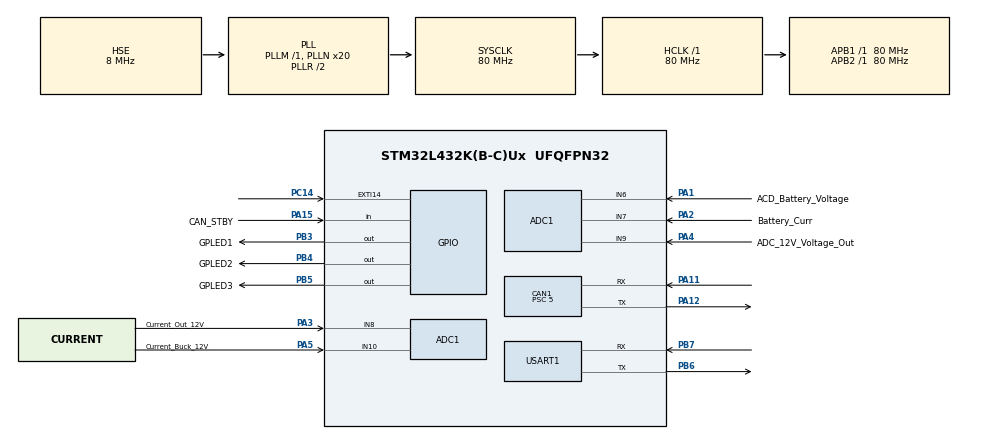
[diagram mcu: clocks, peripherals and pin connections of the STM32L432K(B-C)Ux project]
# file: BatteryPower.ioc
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ADC1.Channel-0\#ChannelRegularConversion=ADC_CHANNEL_6
ADC1.Channel-1\#ChannelRegularConversion=ADC_CHANNEL_7
ADC1.Channel-2\#ChannelRegularConversion=ADC_CHANNEL_8
ADC1.Channel-3\#ChannelRegularConversion=ADC_CHANNEL_9
ADC1.Channel-4\#ChannelRegularConversion=ADC_CHANNEL_10
ADC1.ContinuousConvMode=DISABLE
ADC1.NbrOfConversion=5
ADC1.NbrOfConversionFlag=1
ADC1.OffsetNumber-0\#ChannelRegularConversion=ADC_OFFSET_NONE
ADC1.OffsetNumber-1\#ChannelRegularConversion=ADC_OFFSET_NONE
ADC1.OffsetNumber-2\#ChannelRegularConversion=ADC_OFFSET_NONE
ADC1.OffsetNumber-3\#ChannelRegularConversion=ADC_OFFSET_NONE
ADC1.OffsetNumber-4\#ChannelRegularConversion=ADC_OFFSET_NONE
ADC1.Rank-0\#ChannelRegularConversion=1
ADC1.Rank-1\#ChannelRegularConversion=2
ADC1.Rank-2\#ChannelRegularConversion=3
ADC1.Rank-3\#ChannelRegularConversion=4
ADC1.Rank-4\#ChannelRegularConversion=5
ADC1.SamplingTime-0\#ChannelRegularConversion=ADC_SAMPLETIME_2CYCLES_5
ADC1.SamplingTime-1\#ChannelRegularConversion=ADC_SAMPLETIME_2CYCLES_5
ADC1.SamplingTime-2\#ChannelRegularConversion=ADC_SAMPLETIME_2CYCLES_5
ADC1.SamplingTime-3\#ChannelRegularConversion=ADC_SAMPLETIME_2CYCLES_5
ADC1.SamplingTime-4\#ChannelRegularConversion=ADC_SAMPLETIME_2CYCLES_5
ADC1.master=1
CAN1.BS1=CAN_BS1_11TQ
CAN1.BS2=CAN_BS2_4TQ
CAN1.CalculateBaudRate=1000000
CAN1.CalculateTimeBit=1000
CAN1.CalculateTimeQuantum=62.5
CAN1.Prescaler=5
Dma.ADC1.0.Direction=DMA_PERIPH_TO_MEMORY
Dma.ADC1.0.Instance=DMA1_Channel1
Dma.ADC1.0.MemDataAlignment=DMA_MDATAALIGN_HALFWORD
Dma.ADC1.0.MemInc=DMA_MINC_ENABLE
Dma.ADC1.0.Mode=DMA_CIRCULAR
Dma.ADC1.0.PeriphDataAlignment=DMA_PDATAALIGN_HALFWORD
Dma.ADC1.0.PeriphInc=DMA_PINC_DISABLE
Dma.ADC1.0.Priority=DMA_PRIORITY_LOW
Dma.Request0=ADC1
FREERTOS.Queues01=canRxQueue,128,uint32_t,0,Static,canRxQueueBuffer,canRxQueueControlBlock
FREERTOS.Tasks01=pull_sensor,24,128,AdcTask,Default,NULL,Static,pull_sensorBuffer,pull_sensorControlBlock;can_manger,25,128,CanTask,Default,NULL,Static,can_mangerBuffer,can_mangerControlBlock
FREERTOS.configENABLE_FPU=1
FREERTOS.configUSE_NEWLIB_REENTRANT=1
Mcu.Family=STM32L4
Mcu.Name=STM32L432K(B-C)Ux
Mcu.Package=UFQFPN32
NVIC.CAN1_RX0_IRQn=true\:5\:0\:false\:false\:true\:true\:true\:true\:true
NVIC.CAN1_RX1_IRQn=true\:5\:0\:false\:false\:true\:true\:true\:true\:true
NVIC.CAN1_TX_IRQn=true\:5\:0\:false\:false\:true\:true\:true\:true\:true
NVIC.DMA1_Channel1_IRQn=true\:5\:0\:false\:false\:true\:true\:false\:true\:true
NVIC.EXTI15_10_IRQn=true\:5\:0\:false\:false\:true\:true\:true\:true\:true
NVIC.PriorityGroup=NVIC_PRIORITYGROUP_4
NVIC.TIM1_UP_TIM16_IRQn=true\:15\:0\:false\:false\:true\:false\:false\:true\:true
NVIC.TimeBase=TIM1_UP_TIM16_IRQn
NVIC.TimeBaseIP=TIM1
PA0.Mode=HSE-External-Clock-Source-for-LittleOrca
PA0.Signal=RCC_CK_IN
PA1.GPIO_Label=ACD_Battery_Voltage
PA1.Signal=ADCx_IN6
PA11.GPIO_PuPd=GPIO_PULLUP
PA11.Mode=CAN_Activate
PA11.Signal=CAN1_RX
PA12.Mode=CAN_Activate
PA12.Signal=CAN1_TX
PA13\ (JTMS-SWDIO).Mode=Serial_Wire
PA13\ (JTMS-SWDIO).Signal=SYS_JTMS-SWDIO
PA14\ (JTCK-SWCLK).Mode=Serial_Wire
PA14\ (JTCK-SWCLK).Signal=SYS_JTCK-SWCLK
PA15\ (JTDI).GPIO_Label=CAN_STBY
PA15\ (JTDI).GPIO_PuPd=GPIO_PULLDOWN
PA15\ (JTDI).Signal=GPIO_Input
PA2.GPIO_Label=Battery_Curr
PA2.Signal=ADCx_IN7
PA3.GPIO_Label=Current_Out_12V
PA3.Signal=ADCx_IN8
PA4.GPIO_Label=ADC_12V_Voltage_Out
PA4.Signal=ADCx_IN9
PA5.GPIO_Label=Current_Buck_12V
PA5.Signal=ADCx_IN10
PB3\ (JTDO-TRACESWO).GPIO_Label=GPLED1
PB3\ (JTDO-TRACESWO).Signal=GPIO_Output
PB4\ (NJTRST).GPIO_Label=GPLED2
PB4\ (NJTRST).Signal=GPIO_Output
PB5.GPIO_Label=GPLED3
PB5.Signal=GPIO_Output
PB6.Mode=Asynchronous
PB6.Signal=USART1_TX
PB7.Mode=Asynchronous
PB7.Signal=USART1_RX
PC14-OSC32_IN\ (PC14).Signal=GPXTI14
ProjectManager.HeapSize=0x200
ProjectManager.StackSize=0x400
ProjectManager.TargetToolchain=STM32CubeIDE
RCC.ADCFreq_Value=32000000
RCC.AHBFreq_Value=80000000
RCC.APB1Freq_Value=80000000
RCC.APB1TimFreq_Value=80000000
RCC.APB2Freq_Value=80000000
RCC.APB2TimFreq_Value=80000000
RCC.CortexFreq_Value=80000000
RCC.HCLKFreq_Value=80000000
RCC.HSE_VALUE=8000000
RCC.HSI48_VALUE=48000000
RCC.HSI_VALUE=16000000
RCC.LSE_VALUE=32768
RCC.MSI_VALUE=4000000
RCC.PLLN=20
RCC.PLLSourceVirtual=RCC_PLLSOURCE_HSE
RCC.SYSCLKFreq_VALUE=80000000
RCC.SYSCLKSource=RCC_SYSCLKSOURCE_PLLCLK
RCC.USBFreq_Value=32000000
RCC.VCOOutputFreq_Value=160000000
SH.ADCx_IN10.0=ADC1_IN10,IN10-Single-Ended
SH.ADCx_IN6.0=ADC1_IN6,IN6-Single-Ended
SH.ADCx_IN7.0=ADC1_IN7,IN7-Single-Ended
SH.ADCx_IN8.0=ADC1_IN8,IN8-Single-Ended
SH.ADCx_IN9.0=ADC1_IN9,IN9-Single-Ended
USART1.VirtualMode-Asynchronous=VM_ASYNC
VP_FREERTOS_VS_CMSIS_V2.Mode=CMSIS_V2
VP_SYS_VS_tim1.Mode=TIM1
board=custom

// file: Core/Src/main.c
/* USER CODE BEGIN Header */
/**
 ******************************************************************************
 * @file           : main.c
 * @brief          : Main program body
 ******************************************************************************
 * @attention
 *
 * Copyright (c) 2024 STMicroelectronics.
 * All rights reserved.
 *
 * This software is licensed under terms that can be found in the LICENSE file
 * in the root directory of this software component.
 * If no LICENSE file comes with this software, it is provided AS-IS.
 *
 ******************************************************************************
 */

/* USER CODE END Header */
#include "main.h"
#include "cmsis_os.h"

/* USER CODE BEGIN Includes */
#include <string.h>
#include <stdlib.h>
/* USER CODE END Includes */

typedef StaticTask_t osStaticThreadDef_t;
typedef StaticQueue_t osStaticMessageQDef_t;
/* USER CODE BEGIN PTD */

typedef struct {
  uint32_t batt_volt;
  uint32_t batt_cur;
  uint32_t output_volt; // 12 volt output voltage
  uint32_t output_cur;  // 12 volt output current
  uint32_t buck_cur;    // 5 volt buck current
} bbData_t;

/* USER CODE END PTD */

/* USER CODE BEGIN PD */
#define CAN_TX_MAILBOX_NONE 0x00000000UL
/* USER CODE END PD */

ADC_HandleTypeDef hadc1;
DMA_HandleTypeDef hdma_adc1;

CAN_HandleTypeDef hcan1;

UART_HandleTypeDef huart1;

/* Definitions for pull_sensor */
osThreadId_t pull_sensorHandle;
uint32_t pull_sensorBuffer[ 128 ];
osStaticThreadDef_t pull_sensorControlBlock;
const osThreadAttr_t pull_sensor_attributes = {
  .name = "pull_sensor",
  .cb_mem = &pull_sensorControlBlock,
  .cb_size = sizeof(pull_sensorControlBlock),
  .stack_mem = &pull_sensorBuffer[0],
  .stack_size = sizeof(pull_sensorBuffer),
  .priority = (osPriority_t) osPriorityNormal,
};
/* Definitions for can_manger */
osThreadId_t can_mangerHandle;
uint32_t can_mangerBuffer[ 128 ];
osStaticThreadDef_t can_mangerControlBlock;
const osThreadAttr_t can_manger_attributes = {
  .name = "can_manger",
  .cb_mem = &can_mangerControlBlock,
  .cb_size = sizeof(can_mangerControlBlock),
  .stack_mem = &can_mangerBuffer[0],
  .stack_size = sizeof(can_mangerBuffer),
  .priority = (osPriority_t) osPriorityNormal1,
};
/* Definitions for canRxQueue */
osMessageQueueId_t canRxQueueHandle;
uint8_t canRxQueueBuffer[ 128 * sizeof( uint32_t ) ];
osStaticMessageQDef_t canRxQueueControlBlock;
const osMessageQueueAttr_t canRxQueue_attributes = {
  .name = "canRxQueue",
  .cb_mem = &canRxQueueControlBlock,
  .cb_size = sizeof(canRxQueueControlBlock),
  .mq_mem = &canRxQueueBuffer,
  .mq_size = sizeof(canRxQueueBuffer)
};
/* USER CODE BEGIN PV */
bbData_t battery_board_data[10];

volatile uint32_t adcResults[5];

CAN_RxHeaderTypeDef RxHeader;
uint8_t RxData[8];
uint32_t TxMailboxCanTask;
/* USER CODE END PV */

void SystemClock_Config(void);
static void MX_GPIO_Init(void);
static void MX_DMA_Init(void);
static void MX_CAN1_Init(void);
static void MX_USART1_UART_Init(void);
static void MX_ADC1_Init(void);
void AdcTask(void *argument);
void CanTask(void *argument);

/* USER CODE BEGIN PFP */

uint32_t conversion_completed = 0;

void HAL_ADC_ConvCpltCallback(ADC_HandleTypeDef *hadc) {
  if (hadc->Instance == hadc1.Instance) {
    conversion_completed++;
  }
}

// NICK: I edited how my Callbacks work to be a little safer, check it out
void HAL_CAN_RxFifo0MsgPendingCallback(CAN_HandleTypeDef *hcan) {
  HAL_CAN_GetRxMessage(hcan, CAN_RX_FIFO0, &RxHeader, RxData);
  if (osMessageQueueGetSpace(canRxQueueHandle) == 0) {
    Error_Handler();
  }
  osMessageQueuePut(canRxQueueHandle, &RxHeader.StdId, 0U, 0UL);
  // need condition for either 4 byte or 8 byte
  if (RxHeader.DLC == 0UL) {
    // Data request, don't add anything else to queue
  } else if (RxHeader.DLC <= 4UL) {
    osMessageQueuePut(canRxQueueHandle, RxData, 0U, 0UL);
  } else {
    osMessageQueuePut(canRxQueueHandle, RxData, 0U, 0UL);
    osMessageQueuePut(canRxQueueHandle, RxData + 4, 0U, 0UL);
  }
}

/* Transmit Completed Callbacks for Message Sent Confirmations */
void HAL_CAN_TxMailbox0CompleteCallback(CAN_HandleTypeDef *hcan) {
  if (TxMailboxCanTask == CAN_TX_MAILBOX0) {
    //osSemaphoreRelease(canMsgReceivedSemHandle);
    TxMailboxCanTask = CAN_TX_MAILBOX_NONE;
  }
}
void HAL_CAN_TxMailbox1CompleteCallback(CAN_HandleTypeDef *hcan) {
  if (TxMailboxCanTask == CAN_TX_MAILBOX1) {
    //osSemaphoreRelease(canMsgReceivedSemHandle);
    TxMailboxCanTask = CAN_TX_MAILBOX_NONE;
  }
}
void HAL_CAN_TxMailbox2CompleteCallback(CAN_HandleTypeDef *hcan) {
  if (TxMailboxCanTask == CAN_TX_MAILBOX2) {
    //osSemaphoreRelease(canMsgReceivedSemHandle);
    TxMailboxCanTask = CAN_TX_MAILBOX_NONE;
  }
}

HAL_StatusTypeDef HAL_CAN_SafeAddTxMessage(uint8_t *msg, uint32_t msg_id,
                                           uint32_t msg_length,
                                           uint32_t *TxMailbox, uint32_t rtr) {
#define CAN_ADD_TX_TIMEOUT_MS 5000

  uint32_t fc_tick;
  HAL_StatusTypeDef hal_stat;
  CAN_TxHeaderTypeDef TxHeader;

  // These will never change
  TxHeader.IDE = CAN_ID_STD;
  TxHeader.ExtId = 0;
  TxHeader.TransmitGlobalTime = DISABLE;

  // User will give us this information
  TxHeader.RTR = rtr;
  TxHeader.StdId = msg_id;
  TxHeader.DLC = msg_length;

  // Start a timer to check timeout conditions
  fc_tick = HAL_GetTick();

  /* Try to add a Tx message. Returns HAL_ERROR if there are no avail
   * mailboxes or if the peripheral is not initialized. */
  do {
    hal_stat = HAL_CAN_AddTxMessage(&hcan1, &TxHeader, msg, TxMailbox);
  } while (hal_stat != HAL_OK &&
           ((HAL_GetTick() - fc_tick) < CAN_ADD_TX_TIMEOUT_MS));

  return hal_stat;
}

/* USER CODE END PFP */

int main(void)
{

  /* MCU Configuration--------------------------------------------------------*/

  /* Reset of all peripherals, Initializes the Flash interface and the Systick. */
  HAL_Init();

  /* Configure the system clock */
  SystemClock_Config();

  /* Initialize all configured peripherals */
  MX_GPIO_Init();
  MX_DMA_Init();
  MX_CAN1_Init();
  MX_USART1_UART_Init();
  MX_ADC1_Init();

  /* Init scheduler */
  osKernelInitialize();

  /* Create the queue(s) */
  /* creation of canRxQueue */
  canRxQueueHandle = osMessageQueueNew (128, sizeof(uint32_t), &canRxQueue_attributes);

  /* Create the thread(s) */
  /* creation of pull_sensor */
  pull_sensorHandle = osThreadNew(AdcTask, NULL, &pull_sensor_attributes);

  /* creation of can_manger */
  can_mangerHandle = osThreadNew(CanTask, NULL, &can_manger_attributes);

  /* Start scheduler */
  osKernelStart();

  /* We should never get here as control is now taken by the scheduler */
  /* Infinite loop */
  while (1) {

  }
}

void SystemClock_Config(void)
{
  RCC_OscInitTypeDef RCC_OscInitStruct = {0};
  RCC_ClkInitTypeDef RCC_ClkInitStruct = {0};

  /** Configure the main internal regulator output voltage
  */
  if (HAL_PWREx_ControlVoltageScaling(PWR_REGULATOR_VOLTAGE_SCALE1) != HAL_OK)
  {
    Error_Handler();
  }

  /** Initializes the RCC Oscillators according to the specified parameters
  * in the RCC_OscInitTypeDef structure.
  */
  RCC_OscInitStruct.OscillatorType = RCC_OSCILLATORTYPE_HSE;
  RCC_OscInitStruct.HSEState = RCC_HSE_BYPASS;
  RCC_OscInitStruct.PLL.PLLState = RCC_PLL_ON;
  RCC_OscInitStruct.PLL.PLLSource = RCC_PLLSOURCE_HSE;
  RCC_OscInitStruct.PLL.PLLM = 1;
  RCC_OscInitStruct.PLL.PLLN = 20;
  RCC_OscInitStruct.PLL.PLLP = RCC_PLLP_DIV7;
  RCC_OscInitStruct.PLL.PLLQ = RCC_PLLQ_DIV2;
  RCC_OscInitStruct.PLL.PLLR = RCC_PLLR_DIV2;
  if (HAL_RCC_OscConfig(&RCC_OscInitStruct) != HAL_OK)
  {
    Error_Handler();
  }

  /** Initializes the CPU, AHB and APB buses clocks
  */
  RCC_ClkInitStruct.ClockType = RCC_CLOCKTYPE_HCLK|RCC_CLOCKTYPE_SYSCLK
                              |RCC_CLOCKTYPE_PCLK1|RCC_CLOCKTYPE_PCLK2;
  RCC_ClkInitStruct.SYSCLKSource = RCC_SYSCLKSOURCE_PLLCLK;
  RCC_ClkInitStruct.AHBCLKDivider = RCC_SYSCLK_DIV1;
  RCC_ClkInitStruct.APB1CLKDivider = RCC_HCLK_DIV1;
  RCC_ClkInitStruct.APB2CLKDivider = RCC_HCLK_DIV1;

  if (HAL_RCC_ClockConfig(&RCC_ClkInitStruct, FLASH_LATENCY_4) != HAL_OK)
  {
    Error_Handler();
  }
}

static void MX_ADC1_Init(void)
{

  ADC_ChannelConfTypeDef sConfig = {0};

  /** Common config
  */
  hadc1.Instance = ADC1;
  hadc1.Init.ClockPrescaler = ADC_CLOCK_ASYNC_DIV1;
  hadc1.Init.Resolution = ADC_RESOLUTION_12B;
  hadc1.Init.DataAlign = ADC_DATAALIGN_RIGHT;
  hadc1.Init.ScanConvMode = ADC_SCAN_ENABLE;
  hadc1.Init.EOCSelection = ADC_EOC_SINGLE_CONV;
  hadc1.Init.LowPowerAutoWait = DISABLE;
  hadc1.Init.ContinuousConvMode = DISABLE;
  hadc1.Init.NbrOfConversion = 5;
  hadc1.Init.DiscontinuousConvMode = DISABLE;
  hadc1.Init.ExternalTrigConv = ADC_SOFTWARE_START;
  hadc1.Init.ExternalTrigConvEdge = ADC_EXTERNALTRIGCONVEDGE_NONE;
  hadc1.Init.DMAContinuousRequests = DISABLE;
  hadc1.Init.Overrun = ADC_OVR_DATA_PRESERVED;
  hadc1.Init.OversamplingMode = DISABLE;
  if (HAL_ADC_Init(&hadc1) != HAL_OK)
  {
    Error_Handler();
  }

  /** Configure Regular Channel
  */
  sConfig.Channel = ADC_CHANNEL_6;
  sConfig.Rank = ADC_REGULAR_RANK_1;
  sConfig.SamplingTime = ADC_SAMPLETIME_2CYCLES_5;
  sConfig.SingleDiff = ADC_SINGLE_ENDED;
  sConfig.OffsetNumber = ADC_OFFSET_NONE;
  sConfig.Offset = 0;
  if (HAL_ADC_ConfigChannel(&hadc1, &sConfig) != HAL_OK)
  {
    Error_Handler();
  }

  /** Configure Regular Channel
  */
  sConfig.Channel = ADC_CHANNEL_7;
  sConfig.Rank = ADC_REGULAR_RANK_2;
  if (HAL_ADC_ConfigChannel(&hadc1, &sConfig) != HAL_OK)
  {
    Error_Handler();
  }

  /** Configure Regular Channel
  */
  sConfig.Channel = ADC_CHANNEL_8;
  sConfig.Rank = ADC_REGULAR_RANK_3;
  if (HAL_ADC_ConfigChannel(&hadc1, &sConfig) != HAL_OK)
  {
    Error_Handler();
  }

  /** Configure Regular Channel
  */
  sConfig.Channel = ADC_CHANNEL_9;
  sConfig.Rank = ADC_REGULAR_RANK_4;
  if (HAL_ADC_ConfigChannel(&hadc1, &sConfig) != HAL_OK)
  {
    Error_Handler();
  }

  /** Configure Regular Channel
  */
  sConfig.Channel = ADC_CHANNEL_10;
  sConfig.Rank = ADC_REGULAR_RANK_5;
  if (HAL_ADC_ConfigChannel(&hadc1, &sConfig) != HAL_OK)
  {
    Error_Handler();
  }

}

static void MX_CAN1_Init(void)
{

  hcan1.Instance = CAN1;
  hcan1.Init.Prescaler = 5;
  hcan1.Init.Mode = CAN_MODE_NORMAL;
  hcan1.Init.SyncJumpWidth = CAN_SJW_1TQ;
  hcan1.Init.TimeSeg1 = CAN_BS1_11TQ;
  hcan1.Init.TimeSeg2 = CAN_BS2_4TQ;
  hcan1.Init.TimeTriggeredMode = DISABLE;
  hcan1.Init.AutoBusOff = DISABLE;
  hcan1.Init.AutoWakeUp = DISABLE;
  hcan1.Init.AutoRetransmission = DISABLE;
  hcan1.Init.ReceiveFifoLocked = DISABLE;
  hcan1.Init.TransmitFifoPriority = DISABLE;
  if (HAL_CAN_Init(&hcan1) != HAL_OK)
  {
    Error_Handler();
  }

}

static void MX_USART1_UART_Init(void)
{

  huart1.Instance = USART1;
  huart1.Init.BaudRate = 115200;
  huart1.Init.WordLength = UART_WORDLENGTH_8B;
  huart1.Init.StopBits = UART_STOPBITS_1;
  huart1.Init.Parity = UART_PARITY_NONE;
  huart1.Init.Mode = UART_MODE_TX_RX;
  huart1.Init.HwFlowCtl = UART_HWCONTROL_NONE;
  huart1.Init.OverSampling = UART_OVERSAMPLING_16;
  huart1.Init.OneBitSampling = UART_ONE_BIT_SAMPLE_DISABLE;
  huart1.AdvancedInit.AdvFeatureInit = UART_ADVFEATURE_NO_INIT;
  if (HAL_UART_Init(&huart1) != HAL_OK)
  {
    Error_Handler();
  }

}

static void MX_DMA_Init(void)
{

  /* DMA controller clock enable */
  __HAL_RCC_DMA1_CLK_ENABLE();

  /* DMA interrupt init */
  /* DMA1_Channel1_IRQn interrupt configuration */
  HAL_NVIC_SetPriority(DMA1_Channel1_IRQn, 5, 0);
  HAL_NVIC_EnableIRQ(DMA1_Channel1_IRQn);

}

static void MX_GPIO_Init(void)
{
  GPIO_InitTypeDef GPIO_InitStruct = {0};

  /* GPIO Ports Clock Enable */
  __HAL_RCC_GPIOC_CLK_ENABLE();
  __HAL_RCC_GPIOA_CLK_ENABLE();
  __HAL_RCC_GPIOB_CLK_ENABLE();

  /*Configure GPIO pin Output Level */
  HAL_GPIO_WritePin(GPIOB, GPLED1_Pin|GPLED2_Pin|GPLED3_Pin, GPIO_PIN_RESET);

  /*Configure GPIO pin : PC14 */
  GPIO_InitStruct.Pin = GPIO_PIN_14;
  GPIO_InitStruct.Mode = GPIO_MODE_IT_RISING;
  GPIO_InitStruct.Pull = GPIO_NOPULL;
  HAL_GPIO_Init(GPIOC, &GPIO_InitStruct);

  /*Configure GPIO pin : CAN_STBY_Pin */
  GPIO_InitStruct.Pin = CAN_STBY_Pin;
  GPIO_InitStruct.Mode = GPIO_MODE_INPUT;
  GPIO_InitStruct.Pull = GPIO_PULLDOWN;
  HAL_GPIO_Init(CAN_STBY_GPIO_Port, &GPIO_InitStruct);

  /*Configure GPIO pins : GPLED1_Pin GPLED2_Pin GPLED3_Pin */
  GPIO_InitStruct.Pin = GPLED1_Pin|GPLED2_Pin|GPLED3_Pin;
  GPIO_InitStruct.Mode = GPIO_MODE_OUTPUT_PP;
  GPIO_InitStruct.Pull = GPIO_NOPULL;
  GPIO_InitStruct.Speed = GPIO_SPEED_FREQ_LOW;
  HAL_GPIO_Init(GPIOB, &GPIO_InitStruct);

  /* EXTI interrupt init*/
  HAL_NVIC_SetPriority(EXTI15_10_IRQn, 5, 0);
  HAL_NVIC_EnableIRQ(EXTI15_10_IRQn);

}

void AdcTask(void *argument)
{
  /* USER CODE BEGIN 5 */
  const float ADC_VOLT_REF = 3.3f / 4096.0f;
  const float VOLT_TO_CURR = 2.5f; // A/V
  const float BATTERY_VOLT_DIVIDER =
      10.8f; // voltage divider input 18.5v/ output 1.7123412v
  const float OUTPUT_VOLT_DIVIDER =
      7.1f; // voltage divider input 12v/ output 1.68862275v
  // memset(adcResults, 0, 5);
  HAL_ADC_Start_DMA(&hadc1, (uint32_t *)adcResults, 5);
  int i = 0;

  /* Infinite loop */
  for (;;) {
    if (conversion_completed) {
      battery_board_data[i].batt_volt =
          adcResults[0] * ADC_VOLT_REF * BATTERY_VOLT_DIVIDER;
      battery_board_data[i].batt_cur =
          adcResults[1] * ADC_VOLT_REF * VOLT_TO_CURR;
      battery_board_data[i].output_cur =
          adcResults[2] * ADC_VOLT_REF * VOLT_TO_CURR;
      battery_board_data[i].output_volt =
          adcResults[3] * ADC_VOLT_REF * OUTPUT_VOLT_DIVIDER;
      battery_board_data[i].output_cur =
          adcResults[4] * ADC_VOLT_REF * VOLT_TO_CURR;
      HAL_ADC_Start_DMA(&hadc1, (uint32_t *)adcResults, 5);
      conversion_completed = 0;

      // NICK: I am guessing this is for debugging
      i++;
      if (i >= 10) {
        i = 0;
      }
    }
    osDelay(10);
  }
  /* USER CODE END 5 */
}

void CanTask(void *argument)
{
  /* USER CODE BEGIN CanTask */

  // NICK: You never start the CAN peripheral or any of the notifications
  HAL_CAN_Start(&hcan1);
  HAL_CAN_ActivateNotification(&hcan1, CAN_IT_RX_FIFO0_MSG_PENDING);
  HAL_CAN_ActivateNotification(&hcan1, CAN_IT_RX_FIFO1_MSG_PENDING);
  HAL_CAN_ActivateNotification(&hcan1, CAN_IT_TX_MAILBOX_EMPTY);
  /* Infinite loop */

  HAL_StatusTypeDef hal_stat1, hal_stat2, hal_stat3;

  uint32_t queueData;
  uint32_t floatPackage[5];

  for (;;) {
    if (osMessageQueueGet(canRxQueueHandle, &queueData, 0U, osWaitForever) ==
        osOK) {
      floatPackage[0] = battery_board_data[9].batt_cur;
      floatPackage[1] = battery_board_data[9].batt_volt;
      floatPackage[2] = battery_board_data[9].buck_cur;
      floatPackage[3] = battery_board_data[9].output_cur;
      floatPackage[4] = battery_board_data[9].output_volt;
      // Need to make a switch depending on the data requested
      // Only going to send all
      //
      // NICK: queueData is not a CAN message ID
      // also, each 'package' can only have 8 bytes of data
      // look more at my code. There is a reason why I am only
      // sending up to 8 bytes of data at a time
      // Also, where is hal_stat 1,2,3 defined? Do they serve a purpose?
      hal_stat1 =
          HAL_CAN_SafeAddTxMessage((uint8_t *)&floatPackage, queueData, 8UL,
                                   &TxMailboxCanTask, CAN_RTR_DATA);
      hal_stat2 =
          HAL_CAN_SafeAddTxMessage((uint8_t *)&floatPackage + 8, queueData, 8UL,
                                   &TxMailboxCanTask, CAN_RTR_DATA);
      hal_stat3 =
          HAL_CAN_SafeAddTxMessage((uint8_t *)&floatPackage + 12, queueData,
                                   4UL, &TxMailboxCanTask, CAN_RTR_DATA);
      // send all the data
    }
    osDelay(10);
  }
  /* USER CODE END CanTask */
}

void HAL_TIM_PeriodElapsedCallback(TIM_HandleTypeDef *htim)
{
  if (htim->Instance == TIM1) {
    HAL_IncTick();
  }
}

void Error_Handler(void)
{
  __disable_irq();
  while (1) {
  }
}

#ifdef  USE_FULL_ASSERT
/**
  * @brief  Reports the name of the source file and the source line number
  *         where the assert_param error has occurred.
  * @param  file: pointer to the source file name
  * @param  line: assert_param error line source number
  * @retval None
  */
void assert_failed(uint8_t *file, uint32_t line)
{
  /* USER CODE BEGIN 6 */
  /* User can add his own implementation to report the file name and line
     number, ex: printf("Wrong parameters value: file %s on line %d\r\n", file,
     line) */
  /* USER CODE END 6 */
}
#endif /* USE_FULL_ASSERT */
